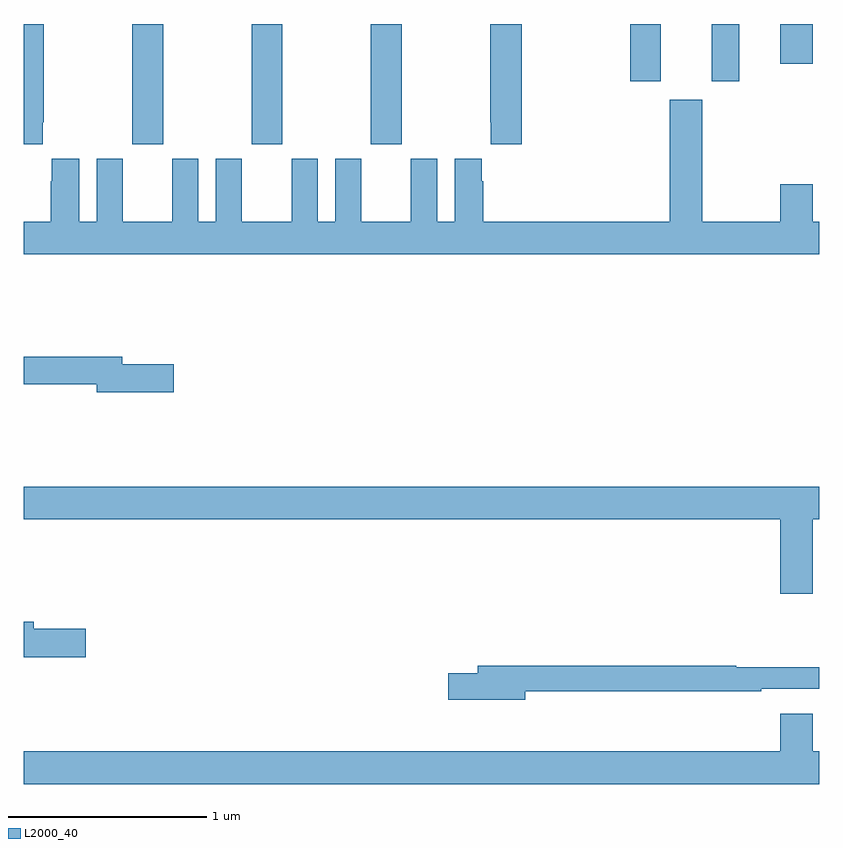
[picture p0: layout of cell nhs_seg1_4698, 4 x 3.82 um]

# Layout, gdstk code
import gdstk
lib = gdstk.Library(unit=1e-6, precision=1e-09)
def R(c, l, rs):  # rectangles x0, y0, x1, y1
    for r in rs: c.add(gdstk.rectangle(r[:2], r[2:], *l))
def A(c, l, x, y, w, h, nx, ny, dx, dy):  # array of equal rectangles
    R(c, l, [(x+i*dx, y+j*dy, x+i*dx+w, y+j*dy+h) for i in range(nx) for j in range(ny)])
def P(c, l, *ps):  # polygons
    for p in ps: c.add(gdstk.Polygon(p, *l))
L2000_40 = (2000, 40)

nhs_seg1_4698 = lib.new_cell('nhs_seg1_4698')
A(nhs_seg1_4698, L2000_40, 365.545, 577.593, 0.155, 0.606, 3, 1, 0.6, 0)
R(nhs_seg1_4698, L2000_40, [(368.051,577.911,368.203,578.199), (368.459,577.911,368.599,578.199), (368.804,577.998,368.968,578.199)])
P(nhs_seg1_4698, L2000_40, [(367.505,578.199),(367.345,578.199),(367.345,577.705),(367.349,577.705),(367.349,577.593),(367.505,577.593)],
  [(365.095,577.705),(365.1,577.705),(365.1,578.199),(365,578.199),(365,577.593),(365.095,577.593)],
  [(369,577.204),(368.968,577.204),(368.968,577.393),(368.804,577.393),(368.804,577.204),(368.413,577.204),(368.413,577.819),(368.249,577.819),(368.249,577.204),(367.31,577.204),(367.31,577.409),(367.303,577.409),(367.303,577.522),(367.166,577.522),(367.166,577.204),(367.078,577.204),(367.078,577.522),(366.947,577.522),(366.947,577.204),(366.697,577.204),(366.697,577.522),(366.566,577.522),(366.566,577.204),(366.478,577.204),(366.478,577.522),(366.347,577.522),(366.347,577.204),(366.097,577.204),(366.097,577.522),(365.966,577.522),(365.966,577.204),(365.878,577.204),(365.878,577.522),(365.747,577.522),(365.747,577.204),(365.497,577.204),(365.497,577.522),(365.366,577.522),(365.366,577.204),(365.278,577.204),(365.278,577.522),(365.141,577.522),(365.141,577.409),(365.135,577.409),(365.135,577.204),(365,577.204),(365,577.04),(369,577.04)],
  [(365.755,576.488),(365.494,576.488),(365.494,576.524),(365,576.524),(365,576.388),(365.366,576.388),(365.366,576.346),(365.755,576.346)],
  [(368.968,575.708),(369,575.708),(369,575.872),(365,575.872),(365,575.708),(368.804,575.708),(368.804,575.334),(368.968,575.334)],
  [(365.311,575.156),(365.05,575.156),(365.05,575.192),(365,575.192),(365,575.014),(365.311,575.014)],
  [(367.522,574.842),(368.708,574.842),(368.708,574.854),(369,574.854),(369,574.963),(368.584,574.963),(368.584,574.97),(367.283,574.97),(367.283,574.934),(367.134,574.934),(367.134,574.799),(367.522,574.799)],
  [(369,574.54),(368.968,574.54),(368.968,574.729),(368.804,574.729),(368.804,574.54),(365,574.54),(365,574.376),(369,574.376)])

lib.write_gds('nhs_seg1_4698.gds')
